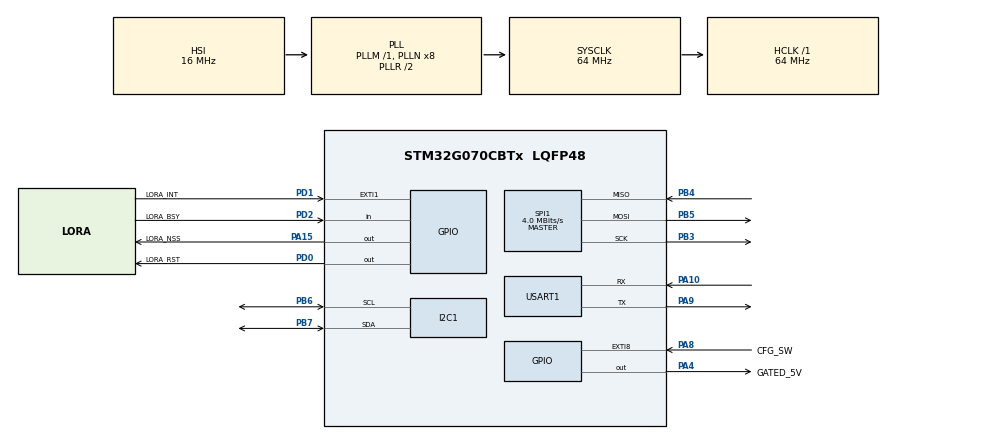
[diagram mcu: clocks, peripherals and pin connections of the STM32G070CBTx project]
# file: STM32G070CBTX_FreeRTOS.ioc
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FREERTOS.Tasks01=defaultTask,24,128,StartDefaultTask,As weak,NULL,Dynamic,NULL,NULL
I2C1.Timing=0x10B17DB5
Mcu.Family=STM32G0
Mcu.Name=STM32G070CBTx
Mcu.Package=LQFP48
NVIC.EXTI0_1_IRQn=true\:3\:0\:false\:false\:true\:true\:true\:true\:true
NVIC.EXTI4_15_IRQn=true\:3\:0\:false\:false\:true\:true\:true\:true\:true
NVIC.TIM6_IRQn=true\:3\:0\:false\:false\:true\:false\:false\:true\:true
NVIC.TimeBase=TIM6_IRQn
NVIC.TimeBaseIP=TIM6
PA10.Mode=Asynchronous
PA10.Signal=USART1_RX
PA15.GPIO_Label=LORA_NSS
PA15.Signal=GPIO_Output
PA4.GPIO_Label=GATED_5V
PA4.Signal=GPIO_Output
PA8.GPIO_Label=CFG_SW
PA8.GPIO_ModeDefaultEXTI=GPIO_MODE_IT_FALLING
PA8.GPIO_PuPd=GPIO_PULLUP
PA8.Signal=GPXTI8
PA9\ [PA11].Mode=Asynchronous
PA9\ [PA11].Signal=USART1_TX
PB3.Mode=Full_Duplex_Master
PB3.Signal=SPI1_SCK
PB4.Mode=Full_Duplex_Master
PB4.Signal=SPI1_MISO
PB5.Mode=Full_Duplex_Master
PB5.Signal=SPI1_MOSI
PB6.GPIO_Pu=GPIO_PULLUP
PB6.Mode=I2C
PB6.Signal=I2C1_SCL
PB7.GPIO_Pu=GPIO_PULLUP
PB7.Mode=I2C
PB7.Signal=I2C1_SDA
PD0.GPIO_Label=LORA_RST
PD0.Signal=GPIO_Output
PD1.GPIO_Label=LORA_INT
PD1.GPIO_ModeDefaultEXTI=GPIO_MODE_IT_RISING
PD1.GPIO_PuPd=GPIO_PULLDOWN
PD1.Signal=GPXTI1
PD2.GPIO_Label=LORA_BSY
PD2.GPIO_PuPd=GPIO_PULLDOWN
PD2.Signal=GPIO_Input
ProjectManager.HeapSize=0x200
ProjectManager.StackSize=0x400
ProjectManager.TargetToolchain=STM32CubeIDE
RCC.ADCFreq_Value=64000000
RCC.AHBFreq_Value=64000000
RCC.CortexFreq_Value=64000000
RCC.EXTERNAL_CLOCK_VALUE=48000
RCC.HCLKFreq_Value=64000000
RCC.HSE_VALUE=8000000
RCC.HSI_VALUE=16000000
RCC.LSE_VALUE=32768
RCC.SYSCLKFreq_VALUE=64000000
RCC.SYSCLKSource=RCC_SYSCLKSOURCE_PLLCLK
RCC.VCOOutputFreq_Value=128000000
SPI1.BaudRatePrescaler=SPI_BAUDRATEPRESCALER_16
SPI1.CalculateBaudRate=4.0 MBits/s
SPI1.DataSize=SPI_DATASIZE_8BIT
SPI1.Direction=SPI_DIRECTION_2LINES
SPI1.Mode=SPI_MODE_MASTER
SPI1.NSSPMode=SPI_NSS_PULSE_DISABLE
SPI1.VirtualType=VM_MASTER
TIM1.Prescaler=63
USART1.VirtualMode-Asynchronous=VM_ASYNC
VP_FREERTOS_VS_CMSIS_V2.Mode=CMSIS_V2
VP_SYS_VS_PINREMAP.Mode=PINREMAP
VP_SYS_VS_tim6.Mode=TIM6
VP_TIM1_VS_ClockSourceINT.Mode=Internal
board=custom

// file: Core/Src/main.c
/* USER CODE BEGIN Header */
/**
 ******************************************************************************
 * @file           : main.c
 * @brief          : Main program body
 ******************************************************************************
 * @attention
 *
 * Copyright (c) 2026 STMicroelectronics.
 * All rights reserved.
 *
 * This software is licensed under terms that can be found in the LICENSE file
 * in the root directory of this software component.
 * If no LICENSE file comes with this software, it is provided AS-IS.
 *
 ******************************************************************************
 */
/* USER CODE END Header */
#include "main.h"
#include "cmsis_os.h"

/* USER CODE BEGIN Includes */
#include <stdint.h>
#include <stdio.h>
#include <string.h>

#include "../../cfg_btn/cfg_btn.h"
#include "../../lcd/lcd.h"
#include "../../lora/lora.h"
#include "../../lora/lora_config.h"
/* USER CODE END Includes */

/* USER CODE BEGIN PD */
#define APP_EVT_ACK (1 << 0)
#define APP_EVT_SEND_ACK (1 << 1)
#define APP_EVT_START_TX (1 << 2)
/* USER CODE END PD */

I2C_HandleTypeDef hi2c1;

SPI_HandleTypeDef hspi1;

TIM_HandleTypeDef htim1;

UART_HandleTypeDef huart1;

/* USER CODE BEGIN PV */
uint32_t tx_count = 0;
uint32_t rx_count = 0;
int16_t last_rssi = 0;
int8_t last_snr = 0;
char last_payload[17] = "...";
osThreadId_t app_task_handle = NULL;
/* USER CODE END PV */

void SystemClock_Config(void);
static void MX_GPIO_Init(void);
static void MX_USART1_UART_Init(void);
static void MX_I2C1_Init(void);
static void MX_SPI1_Init(void);
static void MX_TIM1_Init(void);
/* USER CODE BEGIN PFP */
void user_btn_callback(uint32_t timeout_ms);
void user_lora_rx_callback(uint8_t *data, uint16_t len, int16_t rssi,
                           int8_t snr);
void app_task(void *argument);
/* USER CODE END PFP */

int main(void) {

  /* MCU Configuration--------------------------------------------------------*/

  /* Reset of all peripherals, Initializes the Flash interface and the Systick.
   */
  HAL_Init();

  /* Configure the system clock */
  SystemClock_Config();

  /* Initialize all configured peripherals */
  MX_GPIO_Init();
  MX_USART1_UART_Init();
  MX_I2C1_Init();
  MX_SPI1_Init();
  MX_TIM1_Init();
  /* USER CODE BEGIN 2 */
  HAL_GPIO_WritePin(GATED_5V_GPIO_Port, GATED_5V_Pin,
                    GPIO_PIN_RESET); // This will enable Gated 5V power to LCD
                                     // and other peripherals. Keep it off until
                                     // we are ready to use them
  /* USER CODE END 2 */

  /* Init scheduler */
  osKernelInitialize();

  /* USER CODE BEGIN RTOS_THREADS */
  cfg_btn_init(user_btn_callback);
  lcd_init();
  lora_init(user_lora_rx_callback);

  const osThreadAttr_t app_task_attributes = {
      .name = "appTask",
      .stack_size = 256 * 4,
      .priority = (osPriority_t)osPriorityNormal,
  };
  app_task_handle = osThreadNew(app_task, NULL, &app_task_attributes);
  /* USER CODE END RTOS_THREADS */

  /* Start scheduler */
  osKernelStart();

  /* We should never get here as control is now taken by the scheduler */

  /* Infinite loop */
  while (1) {

  }
}

void SystemClock_Config(void) {
  RCC_OscInitTypeDef RCC_OscInitStruct = {0};
  RCC_ClkInitTypeDef RCC_ClkInitStruct = {0};

  /** Configure the main internal regulator output voltage
   */
  HAL_PWREx_ControlVoltageScaling(PWR_REGULATOR_VOLTAGE_SCALE1);

  /** Initializes the RCC Oscillators according to the specified parameters
   * in the RCC_OscInitTypeDef structure.
   */
  RCC_OscInitStruct.OscillatorType = RCC_OSCILLATORTYPE_HSI;
  RCC_OscInitStruct.HSIState = RCC_HSI_ON;
  RCC_OscInitStruct.HSIDiv = RCC_HSI_DIV1;
  RCC_OscInitStruct.HSICalibrationValue = RCC_HSICALIBRATION_DEFAULT;
  RCC_OscInitStruct.PLL.PLLState = RCC_PLL_ON;
  RCC_OscInitStruct.PLL.PLLSource = RCC_PLLSOURCE_HSI;
  RCC_OscInitStruct.PLL.PLLM = RCC_PLLM_DIV1;
  RCC_OscInitStruct.PLL.PLLN = 8;
  RCC_OscInitStruct.PLL.PLLP = RCC_PLLP_DIV2;
  RCC_OscInitStruct.PLL.PLLR = RCC_PLLR_DIV2;
  if (HAL_RCC_OscConfig(&RCC_OscInitStruct) != HAL_OK) {
    Error_Handler();
  }

  /** Initializes the CPU, AHB and APB buses clocks
   */
  RCC_ClkInitStruct.ClockType =
      RCC_CLOCKTYPE_HCLK | RCC_CLOCKTYPE_SYSCLK | RCC_CLOCKTYPE_PCLK1;
  RCC_ClkInitStruct.SYSCLKSource = RCC_SYSCLKSOURCE_PLLCLK;
  RCC_ClkInitStruct.AHBCLKDivider = RCC_SYSCLK_DIV1;
  RCC_ClkInitStruct.APB1CLKDivider = RCC_HCLK_DIV1;

  if (HAL_RCC_ClockConfig(&RCC_ClkInitStruct, FLASH_LATENCY_2) != HAL_OK) {
    Error_Handler();
  }
}

static void MX_I2C1_Init(void) {

  hi2c1.Instance = I2C1;
  hi2c1.Init.Timing = 0x10B17DB5;
  hi2c1.Init.OwnAddress1 = 0;
  hi2c1.Init.AddressingMode = I2C_ADDRESSINGMODE_7BIT;
  hi2c1.Init.DualAddressMode = I2C_DUALADDRESS_DISABLE;
  hi2c1.Init.OwnAddress2 = 0;
  hi2c1.Init.OwnAddress2Masks = I2C_OA2_NOMASK;
  hi2c1.Init.GeneralCallMode = I2C_GENERALCALL_DISABLE;
  hi2c1.Init.NoStretchMode = I2C_NOSTRETCH_DISABLE;
  if (HAL_I2C_Init(&hi2c1) != HAL_OK) {
    Error_Handler();
  }

  /** Configure Analogue filter
   */
  if (HAL_I2CEx_ConfigAnalogFilter(&hi2c1, I2C_ANALOGFILTER_ENABLE) != HAL_OK) {
    Error_Handler();
  }

  /** Configure Digital filter
   */
  if (HAL_I2CEx_ConfigDigitalFilter(&hi2c1, 0) != HAL_OK) {
    Error_Handler();
  }
}

static void MX_SPI1_Init(void) {

  /* SPI1 parameter configuration*/
  hspi1.Instance = SPI1;
  hspi1.Init.Mode = SPI_MODE_MASTER;
  hspi1.Init.Direction = SPI_DIRECTION_2LINES;
  hspi1.Init.DataSize = SPI_DATASIZE_8BIT;
  hspi1.Init.CLKPolarity = SPI_POLARITY_LOW;
  hspi1.Init.CLKPhase = SPI_PHASE_1EDGE;
  hspi1.Init.NSS = SPI_NSS_SOFT;
  hspi1.Init.BaudRatePrescaler = SPI_BAUDRATEPRESCALER_16;
  hspi1.Init.FirstBit = SPI_FIRSTBIT_MSB;
  hspi1.Init.TIMode = SPI_TIMODE_DISABLE;
  hspi1.Init.CRCCalculation = SPI_CRCCALCULATION_DISABLE;
  hspi1.Init.CRCPolynomial = 7;
  hspi1.Init.CRCLength = SPI_CRC_LENGTH_DATASIZE;
  hspi1.Init.NSSPMode = SPI_NSS_PULSE_DISABLE;
  if (HAL_SPI_Init(&hspi1) != HAL_OK) {
    Error_Handler();
  }

}

static void MX_TIM1_Init(void)
{

  TIM_ClockConfigTypeDef sClockSourceConfig = {0};
  TIM_MasterConfigTypeDef sMasterConfig = {0};

  htim1.Instance = TIM1;
  htim1.Init.Prescaler = 63;
  htim1.Init.CounterMode = TIM_COUNTERMODE_UP;
  htim1.Init.Period = 65535;
  htim1.Init.ClockDivision = TIM_CLOCKDIVISION_DIV1;
  htim1.Init.RepetitionCounter = 0;
  htim1.Init.AutoReloadPreload = TIM_AUTORELOAD_PRELOAD_DISABLE;
  if (HAL_TIM_Base_Init(&htim1) != HAL_OK)
  {
    Error_Handler();
  }
  sClockSourceConfig.ClockSource = TIM_CLOCKSOURCE_INTERNAL;
  if (HAL_TIM_ConfigClockSource(&htim1, &sClockSourceConfig) != HAL_OK)
  {
    Error_Handler();
  }
  sMasterConfig.MasterOutputTrigger = TIM_TRGO_RESET;
  sMasterConfig.MasterOutputTrigger2 = TIM_TRGO2_RESET;
  sMasterConfig.MasterSlaveMode = TIM_MASTERSLAVEMODE_DISABLE;
  if (HAL_TIMEx_MasterConfigSynchronization(&htim1, &sMasterConfig) != HAL_OK)
  {
    Error_Handler();
  }

}

static void MX_USART1_UART_Init(void) {

  huart1.Instance = USART1;
  huart1.Init.BaudRate = 115200;
  huart1.Init.WordLength = UART_WORDLENGTH_8B;
  huart1.Init.StopBits = UART_STOPBITS_1;
  huart1.Init.Parity = UART_PARITY_NONE;
  huart1.Init.Mode = UART_MODE_TX_RX;
  huart1.Init.HwFlowCtl = UART_HWCONTROL_NONE;
  huart1.Init.OverSampling = UART_OVERSAMPLING_16;
  huart1.Init.OneBitSampling = UART_ONE_BIT_SAMPLE_DISABLE;
  huart1.Init.ClockPrescaler = UART_PRESCALER_DIV1;
  huart1.AdvancedInit.AdvFeatureInit = UART_ADVFEATURE_NO_INIT;
  if (HAL_UART_Init(&huart1) != HAL_OK) {
    Error_Handler();
  }
  if (HAL_UARTEx_SetTxFifoThreshold(&huart1, UART_TXFIFO_THRESHOLD_1_8) !=
      HAL_OK) {
    Error_Handler();
  }
  if (HAL_UARTEx_SetRxFifoThreshold(&huart1, UART_RXFIFO_THRESHOLD_1_8) !=
      HAL_OK) {
    Error_Handler();
  }
  if (HAL_UARTEx_DisableFifoMode(&huart1) != HAL_OK) {
    Error_Handler();
  }
}

static void MX_GPIO_Init(void) {
  GPIO_InitTypeDef GPIO_InitStruct = {0};

  /* GPIO Ports Clock Enable */
  __HAL_RCC_GPIOA_CLK_ENABLE();
  __HAL_RCC_GPIOD_CLK_ENABLE();
  __HAL_RCC_GPIOB_CLK_ENABLE();

  /*Configure GPIO pin Output Level */
  HAL_GPIO_WritePin(GPIOA, GATED_5V_Pin | LORA_NSS_Pin, GPIO_PIN_RESET);

  /*Configure GPIO pin Output Level */
  HAL_GPIO_WritePin(LORA_RST_GPIO_Port, LORA_RST_Pin, GPIO_PIN_RESET);

  /*Configure GPIO pins : GATED_5V_Pin LORA_NSS_Pin */
  GPIO_InitStruct.Pin = GATED_5V_Pin | LORA_NSS_Pin;
  GPIO_InitStruct.Mode = GPIO_MODE_OUTPUT_PP;
  GPIO_InitStruct.Pull = GPIO_NOPULL;
  GPIO_InitStruct.Speed = GPIO_SPEED_FREQ_LOW;
  HAL_GPIO_Init(GPIOA, &GPIO_InitStruct);

  /*Configure GPIO pin : CFG_SW_Pin */
  GPIO_InitStruct.Pin = CFG_SW_Pin;
  GPIO_InitStruct.Mode = GPIO_MODE_IT_FALLING;
  GPIO_InitStruct.Pull = GPIO_PULLUP;
  HAL_GPIO_Init(CFG_SW_GPIO_Port, &GPIO_InitStruct);

  /*Configure GPIO pin : LORA_RST_Pin */
  GPIO_InitStruct.Pin = LORA_RST_Pin;
  GPIO_InitStruct.Mode = GPIO_MODE_OUTPUT_PP;
  GPIO_InitStruct.Pull = GPIO_NOPULL;
  GPIO_InitStruct.Speed = GPIO_SPEED_FREQ_LOW;
  HAL_GPIO_Init(LORA_RST_GPIO_Port, &GPIO_InitStruct);

  /*Configure GPIO pin : LORA_INT_Pin */
  GPIO_InitStruct.Pin = LORA_INT_Pin;
  GPIO_InitStruct.Mode = GPIO_MODE_IT_RISING;
  GPIO_InitStruct.Pull = GPIO_PULLDOWN;
  HAL_GPIO_Init(LORA_INT_GPIO_Port, &GPIO_InitStruct);

  /*Configure GPIO pin : LORA_BSY_Pin */
  GPIO_InitStruct.Pin = LORA_BSY_Pin;
  GPIO_InitStruct.Mode = GPIO_MODE_INPUT;
  GPIO_InitStruct.Pull = GPIO_PULLDOWN;
  HAL_GPIO_Init(LORA_BSY_GPIO_Port, &GPIO_InitStruct);

  /* EXTI interrupt init*/
  HAL_NVIC_SetPriority(EXTI0_1_IRQn, 3, 0);
  HAL_NVIC_EnableIRQ(EXTI0_1_IRQn);

  HAL_NVIC_SetPriority(EXTI4_15_IRQn, 3, 0);
  HAL_NVIC_EnableIRQ(EXTI4_15_IRQn);

}

/* USER CODE BEGIN 4 */
int _write(int file, char *ptr, int len) {
  HAL_UART_Transmit(&huart1, (uint8_t *)ptr, len, HAL_MAX_DELAY);
  return len;
}

void HAL_GPIO_EXTI_Falling_Callback(uint16_t GPIO_Pin) {
  if (GPIO_Pin == CFG_SW_Pin) {
    cfg_btn_handle_interrupt();
  }
}

void user_btn_callback(uint32_t timeout_ms) {
  char str1[17];
  char str2[17];

  printf("Button callback triggered: %lu ms\r\n", timeout_ms);

  if (timeout_ms >= 1000) {
#if (LORA_BOARD_MODE == LORA_MODE_TX)
    snprintf(str1, sizeof(str1), "Starting Test");
    if (app_task_handle != NULL) {
      osThreadFlagsSet(app_task_handle, APP_EVT_START_TX);
    }
#else
    snprintf(str1, sizeof(str1), "Long Press");
#endif
  } else {
    snprintf(str1, sizeof(str1), "Short Press");
  }

  snprintf(str2, sizeof(str2), "Time: %lu ms", timeout_ms);

  lcd_enqueue_msg(str1, str2);
}

void HAL_GPIO_EXTI_Rising_Callback(uint16_t GPIO_Pin) {
  if (GPIO_Pin == LORA_INT_Pin) {
    lora_handle_interrupt();
  }
}

void user_lora_rx_callback(uint8_t *data, uint16_t len, int16_t rssi,
                           int8_t snr) {
  char str1[17];
  char str2[17];

  rx_count++;
  last_rssi = rssi;
  last_snr = snr;

  uint16_t payload_len = (len > 16) ? 16 : len;
  memcpy(last_payload, data, payload_len);
  last_payload[payload_len] = '\0';

  LORA_LOG_INFO("LoRa RX #%lu: %d bytes, RSSI: %d, SNR: %d\r\n", rx_count, len,
                rssi, snr);

#if (LORA_BOARD_MODE == LORA_MODE_RX)
  /* Signal app_task to send ACK (avoids deadlock in lora_task) */
  if (app_task_handle != NULL) {
    osThreadFlagsSet(app_task_handle, APP_EVT_SEND_ACK);
  }
#else
  /* TX Board received ACK */
  if (app_task_handle != NULL) {
    osThreadFlagsSet(app_task_handle, APP_EVT_ACK);
  }
#endif

  char msg_snippet[8];
  uint16_t copy_len = (len > 7) ? 7 : len;
  memcpy(msg_snippet, data, copy_len);
  msg_snippet[copy_len] = '\0';

  /* Line 1: R: <RX> T: <TX> <Payload> */
  snprintf(str1, sizeof(str1), "R:%lu T:%lu %s", rx_count, tx_count, msg_snippet);
  /* Line 2: RSSI: <RSSI> S: <SNR> */
  snprintf(str2, sizeof(str2), "RSSI:%d S:%d", rssi, snr);

  lcd_enqueue_msg(str1, str2);
}

void app_task(void *argument) {
  char str1[17];
  char str2[17];

#if (LORA_BOARD_MODE == LORA_MODE_TX)
  LORA_LOG_INFO("App Task: TX Mode Waiting for Trigger...\r\n");
  lcd_enqueue_msg("TX READY", "Long Press START");

  /* Wait for 1000ms button press trigger */
  osThreadFlagsWait(APP_EVT_START_TX, osFlagsWaitAny, osWaitForever);

  LORA_LOG_INFO("App Task: TX Mode Started\r\n");

  while (tx_count < LORA_TOTAL_PACKETS) {
    tx_count++;
    snprintf(str1, sizeof(str1), "R:%lu T:%lu %s", rx_count, tx_count, last_payload);
    snprintf(str2, sizeof(str2), "RSSI:%d S:%d", last_rssi, last_snr);
    lcd_enqueue_msg(str1, str2);

    LORA_LOG_INFO("Transmitting packet %lu/%d\r\n", tx_count,
                  LORA_TOTAL_PACKETS);
    char payload[16];
    snprintf(payload, sizeof(payload), "%lu", tx_count);

    lora_transmit((uint8_t *)payload, strlen(payload), LORA_TX_TIMEOUT);

    /* Re-arm RX to listen for ACK */
    lora_start_rx(LORA_RX_TIMEOUT);

    /* Wait for ACK or Timeout */
    osThreadFlagsWait(APP_EVT_ACK, osFlagsWaitAny, LORA_ACK_TIMEOUT);
  }

  osDelay(3000);

  LORA_LOG_INFO("App Task: TX Test Completed\r\n");

  for (;;) {
    osDelay(1000);
  }
#else
  LORA_LOG_INFO("App Task: RX Mode Started\r\n");
  for (;;) {
    /* Wait for signal from RX callback to send ACK */
    osThreadFlagsWait(APP_EVT_SEND_ACK, osFlagsWaitAny, osWaitForever);

    tx_count++;
    LORA_LOG_INFO("Sending ACK #%lu\r\n", tx_count);

    snprintf(str1, sizeof(str1), "R:%lu T:%lu %s", rx_count, tx_count, last_payload);
    snprintf(str2, sizeof(str2), "RSSI:%d S:%d", last_rssi, last_snr);
    lcd_enqueue_msg(str1, str2);

    char payload[16];
    snprintf(payload, sizeof(payload), "%lu", tx_count);

    lora_transmit((uint8_t *)payload, strlen(payload), LORA_TX_TIMEOUT);

    /* Re-arm RX to listen for next PING */
    lora_start_rx(LORA_RX_TIMEOUT);
  }
#endif
}

/* USER CODE END 4 */

void HAL_TIM_PeriodElapsedCallback(TIM_HandleTypeDef *htim) {
  if (htim->Instance == TIM6) {
    HAL_IncTick();
  }
}

void Error_Handler(void) {
  __disable_irq();
  while (1) {
  }
}

#ifdef USE_FULL_ASSERT
/**
 * @brief  Reports the name of the source file and the source line number
 *         where the assert_param error has occurred.
 * @param  file: pointer to the source file name
 * @param  line: assert_param error line source number
 * @retval None
 */
void assert_failed(uint8_t *file, uint32_t line) {
  /* USER CODE BEGIN 6 */
  /* User can add his own implementation to report the file name and line
     number, ex: printf("Wrong parameters value: file %s on line %d\r\n", file,
     line) */
  /* USER CODE END 6 */
}
#endif /* USE_FULL_ASSERT */
